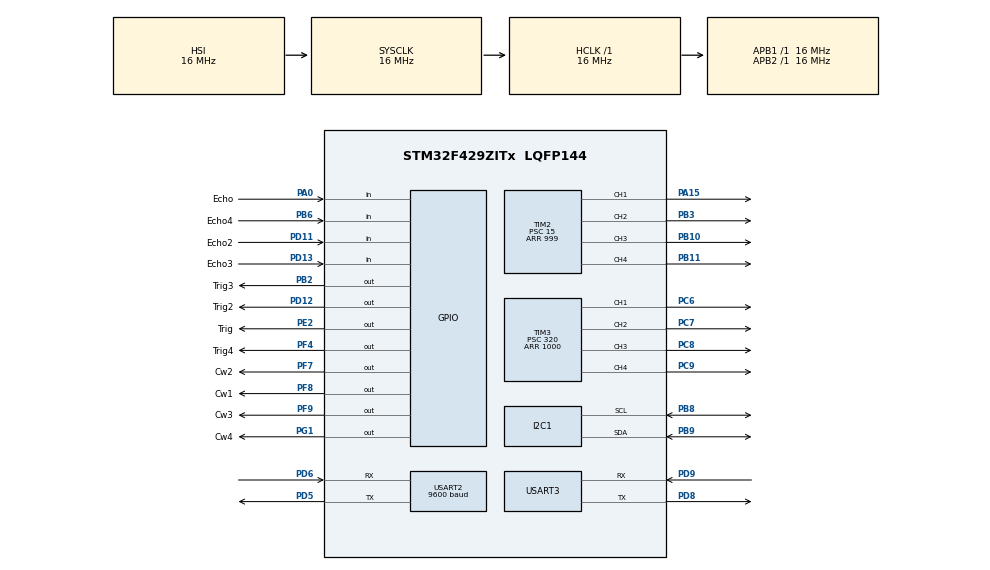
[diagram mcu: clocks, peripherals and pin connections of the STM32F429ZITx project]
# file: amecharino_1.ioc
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I2C1.I2C_Mode=I2C_Standard
Mcu.Family=STM32F4
Mcu.Name=STM32F429ZITx
Mcu.Package=LQFP144
NVIC.PriorityGroup=NVIC_PRIORITYGROUP_4
NVIC.TIM1_TRG_COM_TIM11_IRQn=true\:0\:0\:false\:false\:true\:true\:true\:true
NVIC.TIM3_IRQn=true\:0\:0\:false\:false\:true\:true\:true\:true
NVIC.USART3_IRQn=true\:0\:0\:false\:false\:true\:true\:true\:true
PA0/WKUP.GPIO_Label=Echo
PA0/WKUP.Signal=GPIO_Input
PA13.Mode=Serial_Wire
PA13.Signal=SYS_JTMS-SWDIO
PA14.Mode=Serial_Wire
PA14.Signal=SYS_JTCK-SWCLK
PA15.Signal=S_TIM2_CH1_ETR
PB10.Signal=S_TIM2_CH3
PB11.Signal=S_TIM2_CH4
PB2/BOOT1.GPIO_Label=Trig3
PB2/BOOT1.Signal=GPIO_Output
PB3.Signal=S_TIM2_CH2
PB6.GPIO_Label=Echo4
PB6.Signal=GPIO_Input
PB8.Mode=I2C
PB8.Signal=I2C1_SCL
PB9.Mode=I2C
PB9.Signal=I2C1_SDA
PC6.Signal=S_TIM3_CH1
PC7.Signal=S_TIM3_CH2
PC8.Signal=S_TIM3_CH3
PC9.Signal=S_TIM3_CH4
PD11.GPIO_Label=Echo2
PD11.Signal=GPIO_Input
PD12.GPIO_Label=Trig2
PD12.Signal=GPIO_Output
PD13.GPIO_Label=Echo3
PD13.Signal=GPIO_Input
PD5.Mode=Asynchronous
PD5.Signal=USART2_TX
PD6.Mode=Asynchronous
PD6.Signal=USART2_RX
PD8.Mode=Asynchronous
PD8.Signal=USART3_TX
PD9.Mode=Asynchronous
PD9.Signal=USART3_RX
PE2.GPIO_Label=Trig
PE2.Signal=GPIO_Output
PF4.GPIO_Label=Trig4
PF4.Signal=GPIO_Output
PF7.GPIO_Label=Cw2
PF7.Signal=GPIO_Output
PF8.GPIO_Label=Cw1
PF8.Signal=GPIO_Output
PF9.GPIO_Label=Cw3
PF9.Signal=GPIO_Output
PG1.GPIO_Label=Cw4
PG1.Signal=GPIO_Output
ProjectManager.HeapSize=0x200
ProjectManager.StackSize=0x400
ProjectManager.TargetToolchain=STM32CubeIDE
RCC.AHBFreq_Value=16000000
RCC.APB1Freq_Value=16000000
RCC.APB1TimFreq_Value=16000000
RCC.APB2Freq_Value=16000000
RCC.APB2TimFreq_Value=16000000
RCC.CortexFreq_Value=16000000
RCC.HCLKFreq_Value=16000000
RCC.HSE_VALUE=25000000
RCC.HSI_VALUE=16000000
RCC.LSE_VALUE=32768
RCC.SYSCLKFreq_VALUE=16000000
RCC.VCOOutputFreq_Value=192000000
SH.S_TIM2_CH1_ETR.0=TIM2_CH1,PWM Generation1 CH1
SH.S_TIM2_CH2.0=TIM2_CH2,PWM Generation2 CH2
SH.S_TIM2_CH3.0=TIM2_CH3,PWM Generation3 CH3
SH.S_TIM2_CH4.0=TIM2_CH4,PWM Generation4 CH4
SH.S_TIM3_CH1.0=TIM3_CH1,PWM Generation1 CH1
SH.S_TIM3_CH2.0=TIM3_CH2,PWM Generation2 CH2
SH.S_TIM3_CH3.0=TIM3_CH3,PWM Generation3 CH3
SH.S_TIM3_CH4.0=TIM3_CH4,PWM Generation4 CH4
TIM11.Period=40 - 1
TIM11.Prescaler=16000 - 1 
TIM2.Channel-PWM\ Generation1\ CH1=TIM_CHANNEL_1
TIM2.Channel-PWM\ Generation2\ CH2=TIM_CHANNEL_2
TIM2.Channel-PWM\ Generation3\ CH3=TIM_CHANNEL_3
TIM2.Channel-PWM\ Generation4\ CH4=TIM_CHANNEL_4
TIM2.Period=999
TIM2.Prescaler=15
TIM3.Channel-PWM\ Generation1\ CH1=TIM_CHANNEL_1
TIM3.Channel-PWM\ Generation2\ CH2=TIM_CHANNEL_2
TIM3.Channel-PWM\ Generation3\ CH3=TIM_CHANNEL_3
TIM3.Channel-PWM\ Generation4\ CH4=TIM_CHANNEL_4
TIM3.OCMode_PWM-PWM\ Generation2\ CH2=TIM_OCMODE_PWM1
TIM3.OCMode_PWM-PWM\ Generation3\ CH3=TIM_OCMODE_PWM1
TIM3.OCPolarity_2=TIM_OCPOLARITY_HIGH
TIM3.OCPolarity_3=TIM_OCPOLARITY_HIGH
TIM3.Period=1000
TIM3.Prescaler=320
TIM3.Pulse-PWM\ Generation1\ CH1=500
TIM3.Pulse-PWM\ Generation2\ CH2=500
TIM3.Pulse-PWM\ Generation3\ CH3=500
TIM3.Pulse-PWM\ Generation4\ CH4=500
TIM5.Prescaler=16-1
USART2.BaudRate=9600
USART2.VirtualMode=VM_ASYNC
USART3.VirtualMode=VM_ASYNC
VP_TIM11_VS_ClockSourceINT.Mode=Enable_Timer
VP_TIM2_VS_ClockSourceINT.Mode=Internal
VP_TIM3_VS_ClockSourceINT.Mode=Internal
VP_TIM5_VS_ClockSourceINT.Mode=Internal
board=custom

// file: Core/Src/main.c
/* USER CODE BEGIN Header */
/**
  ******************************************************************************
  * @file           : main.c
  * @brief          : Main program body
  ******************************************************************************
  * @attention
  *
  * Copyright (c) 2025 STMicroelectronics.
  * All rights reserved.
  *
  * This software is licensed under terms that can be found in the LICENSE file
  * in the root directory of this software component.
  * If no LICENSE file comes with this software, it is provided AS-IS.
  *
  ******************************************************************************
  */
/* USER CODE END Header */
#include "main.h"
#include "i2c.h"
#include "tim.h"
#include "usart.h"
#include "gpio.h"

/* USER CODE BEGIN Includes */
#include "motor.h"
#include <MPUXX50.h>
#include "servo.h"
#include "ultra.h"
#include "string.h"
#include "stdio.h"
/* USER CODE END Includes */

/* USER CODE BEGIN PD */
#define TRUE  1
#define FALSE 0
/* USER CODE END PD */

/* USER CODE BEGIN PV */
uint8_t serialBuf[100];
char buf[50];
uint8_t rx_data;
uint8_t gyro_flag;
uint8_t Forward_flag;
uint8_t turn_flag;
uint8_t Left_turn_flag;
uint8_t Right_turn_flag;
uint8_t Uart_flag;
/* USER CODE END PV */

void SystemClock_Config(void);

int main(void)
{

  /* MCU Configuration--------------------------------------------------------*/

  /* Reset of all peripherals, Initializes the Flash interface and the Systick. */
  HAL_Init();

  /* Configure the system clock */
  SystemClock_Config();

  /* Initialize all configured peripherals */
  MX_GPIO_Init();
  MX_TIM2_Init();
  MX_USART3_UART_Init();
  MX_I2C1_Init();
  MX_TIM5_Init();
  MX_TIM3_Init();
  MX_TIM11_Init();
  MX_USART2_UART_Init();
  /* USER CODE BEGIN 2 */

  //MPU6050_Initialization();
  Motor_Init();
  HAL_UART_Receive_IT(&huart3, &rx_data, 1); //아르코 마커러 부터 인덱스 값 받아오는거임
  HAL_TIM_Base_Start(&htim5);

//  if (MPU_begin(&hi2c1, AD0_LOW, AFSR_4G, GFSR_500DPS, 0.98, 0.004) == TRUE)
//    {
//      sprintf((char *)serialBuf, "Succeed!\r\n");
//      HAL_UART_Transmit(&huart3, serialBuf, strlen((char *)serialBuf), HAL_MAX_DELAY);
//    }
//    else
//    {
//      sprintf((char *)serialBuf, "ERROR!\r\n");
//      HAL_UART_Transmit(&huart3, serialBuf, strlen((char *)serialBuf), HAL_MAX_DELAY);
//    }
//   sprintf((char *)serialBuf, "CALIBRATING...\r\n");
//   HAL_UART_Transmit(&huart3, serialBuf, strlen((char *)serialBuf), HAL_MAX_DELAY);
//   MPU_calibrateGyro(&hi2c1, 1500);

   //MPU interrupt 전용
   //HAL_TIM_Base_Start_IT(&htim11);
   //HAL_PWR_EnableSleepOnExit();
   //HAL_PWR_EnterSLEEPMode(PWR_MAINREGULATOR_ON, PWR_SLEEPENTRY_WFI);
  		   //1.5ms Pwm - Servo motor arm rotates to 90 degree
  			   //1.5ms Pwm - Servo motor arm rotates to 90 degree

  /* USER CODE END 2 */

  /* Infinite loop */
  /* USER CODE BEGIN WHILE */
  while (1)
  {

	  //자이로 센서 확인 코드
//	  	  MPU_calcAttitude(&hi2c1);
//	  	  //생략가능
//		  sprintf((char *)serialBuf, "yaw: %.1f\r\n",  attitude.y);
//		  HAL_UART_Transmit(&huart3, serialBuf, strlen((char *)serialBuf), HAL_MAX_DELAY);
//		  HAL_Delay(100);
		  //
	  if(Uart_flag == 1)
	  {
		  sprintf((char *)serialBuf, "1");
		  HAL_UART_Transmit(&huart3, serialBuf, strlen((char *)serialBuf), HAL_MAX_DELAY);
		  HAL_UART_Transmit(&huart2, serialBuf, strlen((char *)serialBuf), HAL_MAX_DELAY);
		  HAL_Delay(1000);

	  }
		  if (Forward_flag == 1)
		  {
		      Forward();

		      if (attitude.y > 0)
		      {
		          Right_turn();
		      }
		      else if (attitude.y < 0)
		      {
		          Left_turn();
		      }

		      if (attitude.y == 0)
		      {
		          Forward();
		      }
		  }

		  else if(turn_flag == 1 && Left_turn_flag == 1)
	  	  {
	  		Left_turn();
	  		if(attitude.y >= 3.5)
	  		{
	  			Stop();
	  			turn_flag = 0;
	  			Left_turn_flag = 0;
	  		}
	  	  }
	  	  else if(turn_flag == 1 && Right_turn_flag == 1)
	  	  {
	  		Right_turn();
			if(attitude.y <= -3.5)
			{
				Stop();
				turn_flag = 0;
				Left_turn_flag = 0;
			}
	  	  }

//	  float distance1 = GetDistance(Trig_GPIO_Port, Trig_Pin, Echo_GPIO_Port, Echo_Pin);
//	  float distance2 = GetDistance(Trig2_GPIO_Port, Trig2_Pin, Echo2_GPIO_Port, Echo2_Pin);
//	  float distance3 = GetDistance(Trig3_GPIO_Port, Trig3_Pin, Echo3_GPIO_Port, Echo3_Pin);
//	  float distance4 = GetDistance(Trig4_GPIO_Port, Trig4_Pin, Echo4_GPIO_Port, Echo4_Pin);
//	  sprintf(buf, "D1: %.2f cm\r\n", distance1);
//	  HAL_UART_Transmit(&huart3, (uint8_t*)buf, strlen(buf), HAL_MAX_DELAY);
//	  HAL_Delay(100);

	  //Forward();
	 //HAL_Delay(1000);
	  //Backward();
	  //HAL_Delay(1000);

	  //HAL_Delay(5000);

    /* USER CODE END WHILE */

  }
}

void SystemClock_Config(void)
{
  RCC_OscInitTypeDef RCC_OscInitStruct = {0};
  RCC_ClkInitTypeDef RCC_ClkInitStruct = {0};

  /** Configure the main internal regulator output voltage
  */
  __HAL_RCC_PWR_CLK_ENABLE();
  __HAL_PWR_VOLTAGESCALING_CONFIG(PWR_REGULATOR_VOLTAGE_SCALE3);

  /** Initializes the RCC Oscillators according to the specified parameters
  * in the RCC_OscInitTypeDef structure.
  */
  RCC_OscInitStruct.OscillatorType = RCC_OSCILLATORTYPE_HSI;
  RCC_OscInitStruct.HSIState = RCC_HSI_ON;
  RCC_OscInitStruct.HSICalibrationValue = RCC_HSICALIBRATION_DEFAULT;
  RCC_OscInitStruct.PLL.PLLState = RCC_PLL_NONE;
  if (HAL_RCC_OscConfig(&RCC_OscInitStruct) != HAL_OK)
  {
    Error_Handler();
  }

  /** Initializes the CPU, AHB and APB buses clocks
  */
  RCC_ClkInitStruct.ClockType = RCC_CLOCKTYPE_HCLK|RCC_CLOCKTYPE_SYSCLK
                              |RCC_CLOCKTYPE_PCLK1|RCC_CLOCKTYPE_PCLK2;
  RCC_ClkInitStruct.SYSCLKSource = RCC_SYSCLKSOURCE_HSI;
  RCC_ClkInitStruct.AHBCLKDivider = RCC_SYSCLK_DIV1;
  RCC_ClkInitStruct.APB1CLKDivider = RCC_HCLK_DIV1;
  RCC_ClkInitStruct.APB2CLKDivider = RCC_HCLK_DIV1;

  if (HAL_RCC_ClockConfig(&RCC_ClkInitStruct, FLASH_LATENCY_0) != HAL_OK)
  {
    Error_Handler();
  }
}

/* USER CODE BEGIN 4 */
void HAL_TIM_PeriodElapsedCallback(TIM_HandleTypeDef *htim)
{
  // Check if timer has triggered and update attitude
  if (htim == &htim11)
  {
    HAL_ResumeTick();
//    MPU_calcAttitude(&hi2c1);
//    sprintf((char *)serialBuf, "yaw: %.1f\r\n",  attitude.y);
//    HAL_UART_Transmit(&huart3, serialBuf, strlen((char *)serialBuf), HAL_MAX_DELAY);

//    float mag_yaw = readMagYaw(&hi2c1);
//	sprintf((char *)serialBuf, "Mag Yaw: %.2f deg\r\n", mag_yaw);
//	HAL_UART_Transmit(&huart3, serialBuf, strlen((char *)serialBuf), HAL_MAX_DELAY);

    HAL_SuspendTick();
  }
}
void HAL_UART_RxCpltCallback(UART_HandleTypeDef *huart)
{
  if (huart->Instance == USART3)
  {
    if (rx_data == '1')
    {

    	Uart_flag = 1;

    }
    else if (rx_data == '2') {

    	Backward();

    }
    else if (rx_data == '3') {
    	//Left_turn();
		Left_turn_flag = 1;
		turn_flag = 1;
    	attitude.y = 0;
	}
    else if (rx_data == '4') {
    	//Right_turn();
    	Right_turn_flag = 1;
    	turn_flag = 1;
		attitude.y = 0;

	}
    else if (rx_data == '5') {
    	Left();

	}
    else if (rx_data == '6') {
    	Right();

	}

    else
    {
    	Stop();
    }

    // 다음 수신 대기
    HAL_UART_Receive_IT(&huart3, &rx_data, 1);
  }
}
/* USER CODE END 4 */

void Error_Handler(void)
{
  __disable_irq();
  while (1)
  {
  }
}
